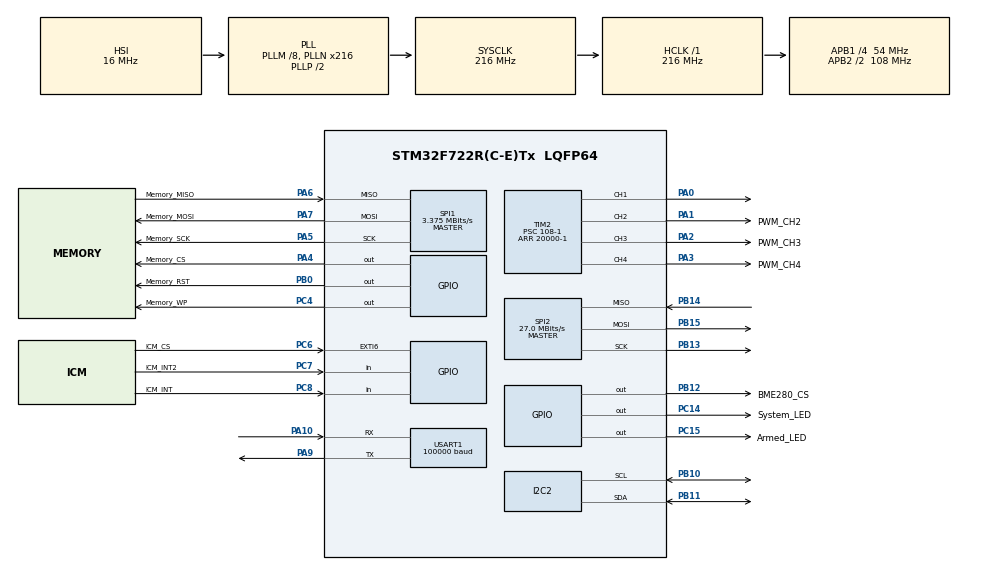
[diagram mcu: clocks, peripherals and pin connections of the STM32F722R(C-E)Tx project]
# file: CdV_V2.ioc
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CORTEX_M7.default_mode_Activation=1
FREERTOS.Mutexes01=MemoryMutex,Dynamic,NULL,Available
FREERTOS.Queues01=System_Queue,16,System_Notification_t,0,Dynamic,NULL,NULL;Actuator_Queue,8,Actuator_Request_t,0,Dynamic,NULL,NULL;Memory_writeQueue,6,Memory_Write_t,0,Dynamic,NULL,NULL;Memory_readQueue,6,Memory_Read_t,0,Dynamic,NULL,NULL;Memory_requestQueue,6,Memory_ReadRequest_t,0,Dynamic,NULL,NULL;Config_Request,4,uint8_t,0,Dynamic,NULL,NULL
FREERTOS.Tasks01=MissionManager,40,256,StartMissionManager,Default,NULL,Static,MissionManagerBuffer,MissionManagerControlBlock;ActuatorsTask,40,256,StartActuatorsTask,Default,NULL,Static,ActuatorsTaskBuffer,ActuatorsTaskControlBlock;MemoryTask,8,256,StartMemoryTask,Default,NULL,Static,MemoryTaskBuffer,MemoryTaskControlBlock;InitializerTask,8,256,StartInitializerTask,Default,NULL,Static,InitializerTaskBuffer,InitializerTaskControlBlock;CommandInterfac,8,256,StartCommandInterfaceTask,Default,NULL,Static,CommandInterfacBuffer,CommandInterfacControlBlock;ConfigTask,8,512,StartConfigTask,Default,NULL,Static,ConfigTaskBuffer,ConfigTaskControlBlock;INSTask,8,256,StartINSTask,Default,NULL,Static,INSTaskBuffer,INSTaskControlBlock;BlackboxTask,8,256,StartBlackboxTask,Default,NULL,Static,BlackboxTaskBuffer,BlackboxTaskControlBlock;FaultTask,8,256,StartFaultTask,Default,NULL,Static,FaultTaskBuffer,FaultTaskControlBlock
FREERTOS.Timers01=DeployParachuteTimer,DeployParachuteFunction,osTimerOnce,Default,NULL,Dynamic,NULL;ParachuteDeploymentPulse,DisableDeplymentOutputs,osTimerOnce,Default,NULL,Dynamic,NULL
FREERTOS.configGENERATE_RUN_TIME_STATS=1
FREERTOS.configTOTAL_HEAP_SIZE=5000
FREERTOS.configUSE_STATS_FORMATTING_FUNCTIONS=1
I2C2.Timing=0x20404768
Mcu.Family=STM32F7
Mcu.Name=STM32F722R(C-E)Tx
Mcu.Package=LQFP64
NVIC.PriorityGroup=NVIC_PRIORITYGROUP_4
NVIC.TIM1_UP_TIM10_IRQn=true\:15\:0\:false\:false\:true\:false\:false\:true\:true
NVIC.TimeBase=TIM1_UP_TIM10_IRQn
NVIC.TimeBaseIP=TIM10
PA0-WKUP.Signal=S_TIM2_CH1_ETR
PA1.GPIO_Label=PWM_CH2
PA1.Signal=S_TIM2_CH2
PA10.Mode=Asynchronous
PA10.Signal=USART1_RX
PA13.Mode=Serial_Wire
PA13.Signal=SYS_JTMS-SWDIO
PA14.Mode=Serial_Wire
PA14.Signal=SYS_JTCK-SWCLK
PA2.GPIO_Label=PWM_CH3
PA2.Signal=S_TIM2_CH3
PA3.GPIO_Label=PWM_CH4
PA3.Signal=S_TIM2_CH4
PA4.GPIO_Label=Memory_CS
PA4.Signal=GPIO_Output
PA5.GPIO_Label=Memory_SCK
PA5.Mode=Full_Duplex_Master
PA5.Signal=SPI1_SCK
PA6.GPIO_Label=Memory_MISO
PA6.Mode=Full_Duplex_Master
PA6.Signal=SPI1_MISO
PA7.GPIO_Label=Memory_MOSI
PA7.Mode=Full_Duplex_Master
PA7.Signal=SPI1_MOSI
PA9.Mode=Asynchronous
PA9.Signal=USART1_TX
PB0.GPIO_Label=Memory_RST
PB0.Signal=GPIO_Output
PB10.Mode=I2C
PB10.Signal=I2C2_SCL
PB11.Mode=I2C
PB11.Signal=I2C2_SDA
PB12.GPIO_Label=BME280_CS
PB12.Signal=GPIO_Output
PB13.Mode=Full_Duplex_Master
PB13.Signal=SPI2_SCK
PB14.Mode=Full_Duplex_Master
PB14.Signal=SPI2_MISO
PB15.Mode=Full_Duplex_Master
PB15.Signal=SPI2_MOSI
PC14-OSC32_IN.GPIO_Label=System_LED
PC14-OSC32_IN.Signal=GPIO_Output
PC15-OSC32_OUT.GPIO_Label=Armed_LED
PC15-OSC32_OUT.Signal=GPIO_Output
PC4.GPIO_Label=Memory_WP
PC4.Signal=GPIO_Output
PC6.GPIO_Label=ICM_CS
PC6.Signal=GPXTI6
PC7.GPIO_Label=ICM_INT2
PC7.Signal=GPIO_Input
PC8.GPIO_Label=ICM_INT
PC8.Signal=GPIO_Input
PH0-OSC_IN.Mode=HSE-External-Oscillator
PH0-OSC_IN.Signal=RCC_OSC_IN
PH1-OSC_OUT.Mode=HSE-External-Oscillator
PH1-OSC_OUT.Signal=RCC_OSC_OUT
ProjectManager.HeapSize=0x200
ProjectManager.StackSize=0x400
ProjectManager.TargetToolchain=STM32CubeIDE
RCC.AHBFreq_Value=216000000
RCC.APB1CLKDivider=RCC_HCLK_DIV4
RCC.APB1Freq_Value=54000000
RCC.APB1TimFreq_Value=108000000
RCC.APB2CLKDivider=RCC_HCLK_DIV2
RCC.APB2Freq_Value=108000000
RCC.APB2TimFreq_Value=216000000
RCC.CortexFreq_Value=216000000
RCC.HCLKFreq_Value=216000000
RCC.HSE_VALUE=25000000
RCC.HSI_VALUE=16000000
RCC.LSE_VALUE=32768
RCC.PLLM=8
RCC.PLLN=216
RCC.SYSCLKFreq_VALUE=216000000
RCC.SYSCLKSource=RCC_SYSCLKSOURCE_PLLCLK
RCC.USBFreq_Value=216000000
RCC.VCOOutputFreq_Value=432000000
SH.S_TIM2_CH1_ETR.0=TIM2_CH1,PWM Generation1 CH1
SH.S_TIM2_CH2.0=TIM2_CH2,PWM Generation2 CH2
SH.S_TIM2_CH3.0=TIM2_CH3,PWM Generation3 CH3
SH.S_TIM2_CH4.0=TIM2_CH4,PWM Generation4 CH4
SPI1.BaudRatePrescaler=SPI_BAUDRATEPRESCALER_32
SPI1.CalculateBaudRate=3.375 MBits/s
SPI1.DataSize=SPI_DATASIZE_8BIT
SPI1.Direction=SPI_DIRECTION_2LINES
SPI1.Mode=SPI_MODE_MASTER
SPI1.VirtualType=VM_MASTER
SPI2.CalculateBaudRate=27.0 MBits/s
SPI2.DataSize=SPI_DATASIZE_8BIT
SPI2.Direction=SPI_DIRECTION_2LINES
SPI2.Mode=SPI_MODE_MASTER
SPI2.VirtualType=VM_MASTER
TIM2.Channel-PWM\ Generation1\ CH1=TIM_CHANNEL_1
TIM2.Channel-PWM\ Generation2\ CH2=TIM_CHANNEL_2
TIM2.Channel-PWM\ Generation3\ CH3=TIM_CHANNEL_3
TIM2.Channel-PWM\ Generation4\ CH4=TIM_CHANNEL_4
TIM2.Period=20000-1
TIM2.Prescaler=108-1
USART1.BaudRate=100000
USART1.Parity=PARITY_EVEN
USART1.StopBits=STOPBITS_2
USART1.VirtualMode-Asynchronous=VM_ASYNC
USART1.WordLength=WORDLENGTH_9B
VP_FREERTOS_VS_CMSIS_V2.Mode=CMSIS_V2
VP_SYS_VS_tim10.Mode=TIM10
board=custom

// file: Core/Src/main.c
/* USER CODE BEGIN Header */
/**
  ******************************************************************************
  * @file           : main.c
  * @brief          : Main program body
  ******************************************************************************
  * @attention
  *
  * Copyright (c) 2026 STMicroelectronics.
  * All rights reserved.
  *
  * This software is licensed under terms that can be found in the LICENSE file
  * in the root directory of this software component.
  * If no LICENSE file comes with this software, it is provided AS-IS.
  *
  ******************************************************************************
  */
/* USER CODE END Header */
#include "main.h"
#include "cmsis_os.h"
#include "i2c.h"
#include "spi.h"
#include "tim.h"
#include "usart.h"
#include "gpio.h"

void SystemClock_Config(void);
static void MPU_Config(void);
void MX_FREERTOS_Init(void);

int main(void)
{

  /* MPU Configuration--------------------------------------------------------*/
  MPU_Config();

  /* MCU Configuration--------------------------------------------------------*/

  /* Reset of all peripherals, Initializes the Flash interface and the Systick. */
  HAL_Init();

  /* Configure the system clock */
  SystemClock_Config();

  /* Initialize all configured peripherals */
  MX_GPIO_Init();
  MX_SPI1_Init();
  MX_TIM2_Init();
  MX_SPI2_Init();
  MX_I2C2_Init();
  MX_USART1_UART_Init();

  /* Init scheduler */
  osKernelInitialize();  /* Call init function for freertos objects (in cmsis_os2.c) */
  MX_FREERTOS_Init();

  /* Start scheduler */
  osKernelStart();

  /* We should never get here as control is now taken by the scheduler */

  /* Infinite loop */
  while (1)
  {

  }
}

void SystemClock_Config(void)
{
  RCC_OscInitTypeDef RCC_OscInitStruct = {0};
  RCC_ClkInitTypeDef RCC_ClkInitStruct = {0};

  /** Configure the main internal regulator output voltage
  */
  __HAL_RCC_PWR_CLK_ENABLE();
  __HAL_PWR_VOLTAGESCALING_CONFIG(PWR_REGULATOR_VOLTAGE_SCALE1);

  /** Initializes the RCC Oscillators according to the specified parameters
  * in the RCC_OscInitTypeDef structure.
  */
  RCC_OscInitStruct.OscillatorType = RCC_OSCILLATORTYPE_HSI;
  RCC_OscInitStruct.HSIState = RCC_HSI_ON;
  RCC_OscInitStruct.HSICalibrationValue = RCC_HSICALIBRATION_DEFAULT;
  RCC_OscInitStruct.PLL.PLLState = RCC_PLL_ON;
  RCC_OscInitStruct.PLL.PLLSource = RCC_PLLSOURCE_HSI;
  RCC_OscInitStruct.PLL.PLLM = 8;
  RCC_OscInitStruct.PLL.PLLN = 216;
  RCC_OscInitStruct.PLL.PLLP = RCC_PLLP_DIV2;
  RCC_OscInitStruct.PLL.PLLQ = 2;
  if (HAL_RCC_OscConfig(&RCC_OscInitStruct) != HAL_OK)
  {
    Error_Handler();
  }

  /** Activate the Over-Drive mode
  */
  if (HAL_PWREx_EnableOverDrive() != HAL_OK)
  {
    Error_Handler();
  }

  /** Initializes the CPU, AHB and APB buses clocks
  */
  RCC_ClkInitStruct.ClockType = RCC_CLOCKTYPE_HCLK|RCC_CLOCKTYPE_SYSCLK
                              |RCC_CLOCKTYPE_PCLK1|RCC_CLOCKTYPE_PCLK2;
  RCC_ClkInitStruct.SYSCLKSource = RCC_SYSCLKSOURCE_PLLCLK;
  RCC_ClkInitStruct.AHBCLKDivider = RCC_SYSCLK_DIV1;
  RCC_ClkInitStruct.APB1CLKDivider = RCC_HCLK_DIV4;
  RCC_ClkInitStruct.APB2CLKDivider = RCC_HCLK_DIV2;

  if (HAL_RCC_ClockConfig(&RCC_ClkInitStruct, FLASH_LATENCY_7) != HAL_OK)
  {
    Error_Handler();
  }
}

 /* MPU Configuration */

void MPU_Config(void)
{
  MPU_Region_InitTypeDef MPU_InitStruct = {0};

  /* Disables the MPU */
  HAL_MPU_Disable();

  /** Initializes and configures the Region and the memory to be protected
  */
  MPU_InitStruct.Enable = MPU_REGION_ENABLE;
  MPU_InitStruct.Number = MPU_REGION_NUMBER0;
  MPU_InitStruct.BaseAddress = 0x0;
  MPU_InitStruct.Size = MPU_REGION_SIZE_4GB;
  MPU_InitStruct.SubRegionDisable = 0x87;
  MPU_InitStruct.TypeExtField = MPU_TEX_LEVEL0;
  MPU_InitStruct.AccessPermission = MPU_REGION_NO_ACCESS;
  MPU_InitStruct.DisableExec = MPU_INSTRUCTION_ACCESS_DISABLE;
  MPU_InitStruct.IsShareable = MPU_ACCESS_SHAREABLE;
  MPU_InitStruct.IsCacheable = MPU_ACCESS_NOT_CACHEABLE;
  MPU_InitStruct.IsBufferable = MPU_ACCESS_NOT_BUFFERABLE;

  HAL_MPU_ConfigRegion(&MPU_InitStruct);
  /* Enables the MPU */
  HAL_MPU_Enable(MPU_PRIVILEGED_DEFAULT);

}

void HAL_TIM_PeriodElapsedCallback(TIM_HandleTypeDef *htim)
{
  if (htim->Instance == TIM10)
  {
    HAL_IncTick();
  }
}

void Error_Handler(void)
{
  __disable_irq();
  while (1)
  {
  }
}

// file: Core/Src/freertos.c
/* USER CODE BEGIN Header */
/**
  ******************************************************************************
  * File Name          : freertos.c
  * Description        : Code for freertos applications
  ******************************************************************************
  * @attention
  *
  * Copyright (c) 2026 STMicroelectronics.
  * All rights reserved.
  *
  * This software is licensed under terms that can be found in the LICENSE file
  * in the root directory of this software component.
  * If no LICENSE file comes with this software, it is provided AS-IS.
  *
  ******************************************************************************
  */
/* USER CODE END Header */

#include "FreeRTOS.h"
#include "task.h"
#include "main.h"
#include "cmsis_os.h"

/* USER CODE BEGIN Includes */
#include "System/System.h"
#include "Tasks/MissionManager/MissionManager.h"
#include "Tasks/Actuators/Actuators.h"
#include "Tasks/Memory/Memory.h"
#include "Tasks/Config/Config.h"
#include "Tasks/Initializer/Initializer.h"
#include "Tasks/INS/INS.h"
/* USER CODE END Includes */

typedef StaticTask_t osStaticThreadDef_t;

/* Definitions for MissionManager */
osThreadId_t MissionManagerHandle;
uint32_t MissionManagerBuffer[ 256 ];
osStaticThreadDef_t MissionManagerControlBlock;
const osThreadAttr_t MissionManager_attributes = {
  .name = "MissionManager",
  .cb_mem = &MissionManagerControlBlock,
  .cb_size = sizeof(MissionManagerControlBlock),
  .stack_mem = &MissionManagerBuffer[0],
  .stack_size = sizeof(MissionManagerBuffer),
  .priority = (osPriority_t) osPriorityHigh,
};
/* Definitions for ActuatorsTask */
osThreadId_t ActuatorsTaskHandle;
uint32_t ActuatorsTaskBuffer[ 256 ];
osStaticThreadDef_t ActuatorsTaskControlBlock;
const osThreadAttr_t ActuatorsTask_attributes = {
  .name = "ActuatorsTask",
  .cb_mem = &ActuatorsTaskControlBlock,
  .cb_size = sizeof(ActuatorsTaskControlBlock),
  .stack_mem = &ActuatorsTaskBuffer[0],
  .stack_size = sizeof(ActuatorsTaskBuffer),
  .priority = (osPriority_t) osPriorityHigh,
};
/* Definitions for MemoryTask */
osThreadId_t MemoryTaskHandle;
uint32_t MemoryTaskBuffer[ 256 ];
osStaticThreadDef_t MemoryTaskControlBlock;
const osThreadAttr_t MemoryTask_attributes = {
  .name = "MemoryTask",
  .cb_mem = &MemoryTaskControlBlock,
  .cb_size = sizeof(MemoryTaskControlBlock),
  .stack_mem = &MemoryTaskBuffer[0],
  .stack_size = sizeof(MemoryTaskBuffer),
  .priority = (osPriority_t) osPriorityLow,
};
/* Definitions for InitializerTask */
osThreadId_t InitializerTaskHandle;
uint32_t InitializerTaskBuffer[ 256 ];
osStaticThreadDef_t InitializerTaskControlBlock;
const osThreadAttr_t InitializerTask_attributes = {
  .name = "InitializerTask",
  .cb_mem = &InitializerTaskControlBlock,
  .cb_size = sizeof(InitializerTaskControlBlock),
  .stack_mem = &InitializerTaskBuffer[0],
  .stack_size = sizeof(InitializerTaskBuffer),
  .priority = (osPriority_t) osPriorityLow,
};
/* Definitions for CommandInterfac */
osThreadId_t CommandInterfacHandle;
uint32_t CommandInterfacBuffer[ 256 ];
osStaticThreadDef_t CommandInterfacControlBlock;
const osThreadAttr_t CommandInterfac_attributes = {
  .name = "CommandInterfac",
  .cb_mem = &CommandInterfacControlBlock,
  .cb_size = sizeof(CommandInterfacControlBlock),
  .stack_mem = &CommandInterfacBuffer[0],
  .stack_size = sizeof(CommandInterfacBuffer),
  .priority = (osPriority_t) osPriorityLow,
};
/* Definitions for ConfigTask */
osThreadId_t ConfigTaskHandle;
uint32_t ConfigTaskBuffer[ 512 ];
osStaticThreadDef_t ConfigTaskControlBlock;
const osThreadAttr_t ConfigTask_attributes = {
  .name = "ConfigTask",
  .cb_mem = &ConfigTaskControlBlock,
  .cb_size = sizeof(ConfigTaskControlBlock),
  .stack_mem = &ConfigTaskBuffer[0],
  .stack_size = sizeof(ConfigTaskBuffer),
  .priority = (osPriority_t) osPriorityLow,
};
/* Definitions for INSTask */
osThreadId_t INSTaskHandle;
uint32_t INSTaskBuffer[ 256 ];
osStaticThreadDef_t INSTaskControlBlock;
const osThreadAttr_t INSTask_attributes = {
  .name = "INSTask",
  .cb_mem = &INSTaskControlBlock,
  .cb_size = sizeof(INSTaskControlBlock),
  .stack_mem = &INSTaskBuffer[0],
  .stack_size = sizeof(INSTaskBuffer),
  .priority = (osPriority_t) osPriorityLow,
};
/* Definitions for BlackboxTask */
osThreadId_t BlackboxTaskHandle;
uint32_t BlackboxTaskBuffer[ 256 ];
osStaticThreadDef_t BlackboxTaskControlBlock;
const osThreadAttr_t BlackboxTask_attributes = {
  .name = "BlackboxTask",
  .cb_mem = &BlackboxTaskControlBlock,
  .cb_size = sizeof(BlackboxTaskControlBlock),
  .stack_mem = &BlackboxTaskBuffer[0],
  .stack_size = sizeof(BlackboxTaskBuffer),
  .priority = (osPriority_t) osPriorityLow,
};
/* Definitions for FaultTask */
osThreadId_t FaultTaskHandle;
uint32_t FaultTaskBuffer[ 256 ];
osStaticThreadDef_t FaultTaskControlBlock;
const osThreadAttr_t FaultTask_attributes = {
  .name = "FaultTask",
  .cb_mem = &FaultTaskControlBlock,
  .cb_size = sizeof(FaultTaskControlBlock),
  .stack_mem = &FaultTaskBuffer[0],
  .stack_size = sizeof(FaultTaskBuffer),
  .priority = (osPriority_t) osPriorityLow,
};
/* Definitions for System_Queue */
osMessageQueueId_t System_QueueHandle;
const osMessageQueueAttr_t System_Queue_attributes = {
  .name = "System_Queue"
};
/* Definitions for Actuator_Queue */
osMessageQueueId_t Actuator_QueueHandle;
const osMessageQueueAttr_t Actuator_Queue_attributes = {
  .name = "Actuator_Queue"
};
/* Definitions for Memory_writeQueue */
osMessageQueueId_t Memory_writeQueueHandle;
const osMessageQueueAttr_t Memory_writeQueue_attributes = {
  .name = "Memory_writeQueue"
};
/* Definitions for Memory_readQueue */
osMessageQueueId_t Memory_readQueueHandle;
const osMessageQueueAttr_t Memory_readQueue_attributes = {
  .name = "Memory_readQueue"
};
/* Definitions for Memory_requestQueue */
osMessageQueueId_t Memory_requestQueueHandle;
const osMessageQueueAttr_t Memory_requestQueue_attributes = {
  .name = "Memory_requestQueue"
};
/* Definitions for Config_Request */
osMessageQueueId_t Config_RequestHandle;
const osMessageQueueAttr_t Config_Request_attributes = {
  .name = "Config_Request"
};
/* Definitions for DeployParachuteTimer */
osTimerId_t DeployParachuteTimerHandle;
const osTimerAttr_t DeployParachuteTimer_attributes = {
  .name = "DeployParachuteTimer"
};
/* Definitions for ParachuteDeploymentPulse */
osTimerId_t ParachuteDeploymentPulseHandle;
const osTimerAttr_t ParachuteDeploymentPulse_attributes = {
  .name = "ParachuteDeploymentPulse"
};
/* Definitions for MemoryMutex */
osMutexId_t MemoryMutexHandle;
const osMutexAttr_t MemoryMutex_attributes = {
  .name = "MemoryMutex"
};

void StartMissionManager(void *argument);
void StartActuatorsTask(void *argument);
void StartMemoryTask(void *argument);
void StartInitializerTask(void *argument);
void StartCommandInterfaceTask(void *argument);
void StartConfigTask(void *argument);
void StartINSTask(void *argument);
void StartBlackboxTask(void *argument);
void StartFaultTask(void *argument);
void DeployParachuteFunction(void *argument);
void DisableDeplymentOutputs(void *argument);

void MX_FREERTOS_Init(void); /* (MISRA C 2004 rule 8.1) */

/* Hook prototypes */
void configureTimerForRunTimeStats(void);
unsigned long getRunTimeCounterValue(void);

/* USER CODE BEGIN 1 */
/* Functions needed when configGENERATE_RUN_TIME_STATS is on */
__weak void configureTimerForRunTimeStats(void)
{

}

__weak unsigned long getRunTimeCounterValue(void)
{
return 0;
}
/* USER CODE END 1 */

void MX_FREERTOS_Init(void) {
  /* Create the mutex(es) */
  /* creation of MemoryMutex */
  MemoryMutexHandle = osMutexNew(&MemoryMutex_attributes);

  /* Create the timer(s) */
  /* creation of DeployParachuteTimer */
  DeployParachuteTimerHandle = osTimerNew(DeployParachuteFunction, osTimerOnce, NULL, &DeployParachuteTimer_attributes);

  /* creation of ParachuteDeploymentPulse */
  ParachuteDeploymentPulseHandle = osTimerNew(DisableDeplymentOutputs, osTimerOnce, NULL, &ParachuteDeploymentPulse_attributes);

  /* Create the queue(s) */
  /* creation of System_Queue */
  System_QueueHandle = osMessageQueueNew (16, sizeof(System_Notification_t), &System_Queue_attributes);

  /* creation of Actuator_Queue */
  Actuator_QueueHandle = osMessageQueueNew (8, sizeof(Actuator_Request_t), &Actuator_Queue_attributes);

  /* creation of Memory_writeQueue */
  Memory_writeQueueHandle = osMessageQueueNew (6, sizeof(Memory_Write_t), &Memory_writeQueue_attributes);

  /* creation of Memory_readQueue */
  Memory_readQueueHandle = osMessageQueueNew (6, sizeof(Memory_Read_t), &Memory_readQueue_attributes);

  /* creation of Memory_requestQueue */
  Memory_requestQueueHandle = osMessageQueueNew (6, sizeof(Memory_ReadRequest_t), &Memory_requestQueue_attributes);

  /* creation of Config_Request */
  Config_RequestHandle = osMessageQueueNew (4, sizeof(uint8_t), &Config_Request_attributes);

  /* Create the thread(s) */
  /* creation of MissionManager */
  MissionManagerHandle = osThreadNew(StartMissionManager, NULL, &MissionManager_attributes);

  /* creation of ActuatorsTask */
  ActuatorsTaskHandle = osThreadNew(StartActuatorsTask, NULL, &ActuatorsTask_attributes);

  /* creation of MemoryTask */
  MemoryTaskHandle = osThreadNew(StartMemoryTask, NULL, &MemoryTask_attributes);

  /* creation of InitializerTask */
  InitializerTaskHandle = osThreadNew(StartInitializerTask, NULL, &InitializerTask_attributes);

  /* creation of CommandInterfac */
  CommandInterfacHandle = osThreadNew(StartCommandInterfaceTask, NULL, &CommandInterfac_attributes);

  /* creation of ConfigTask */
  ConfigTaskHandle = osThreadNew(StartConfigTask, NULL, &ConfigTask_attributes);

  /* creation of INSTask */
  INSTaskHandle = osThreadNew(StartINSTask, NULL, &INSTask_attributes);

  /* creation of BlackboxTask */
  BlackboxTaskHandle = osThreadNew(StartBlackboxTask, NULL, &BlackboxTask_attributes);

  /* creation of FaultTask */
  FaultTaskHandle = osThreadNew(StartFaultTask, NULL, &FaultTask_attributes);

}

void StartMissionManager(void *argument)
{
  /* USER CODE BEGIN StartMissionManager */
  /* Infinite loop */
  for(;;)
  {

	MissionManager_Task();
    osDelay(20);
  }
  /* USER CODE END StartMissionManager */
}

void StartActuatorsTask(void *argument)
{
  /* USER CODE BEGIN StartActuatorsTask */
  /* Infinite loop */
  for(;;)
  {
	Actuators_Task();
    osDelay(5);
  }
  /* USER CODE END StartActuatorsTask */
}

void StartMemoryTask(void *argument)
{
  /* USER CODE BEGIN StartMemoryTask */
  /* Infinite loop */
  for(;;)
  {
	Memory_Task();
    osDelay(5);
  }
  /* USER CODE END StartMemoryTask */
}

void StartInitializerTask(void *argument)
{
  /* USER CODE BEGIN StartInitializerTask */
  /* Infinite loop */
  for(;;)
  {
	Initializer_Task();
    osDelay(100);
  }
  /* USER CODE END StartInitializerTask */
}

void StartCommandInterfaceTask(void *argument)
{
  /* USER CODE BEGIN StartCommandInterfaceTask */
  /* Infinite loop */
  for(;;)
  {
    osDelay(200);
  }
  /* USER CODE END StartCommandInterfaceTask */
}

void StartConfigTask(void *argument)
{
  /* USER CODE BEGIN StartConfigTask */
  /* Infinite loop */
  for(;;)
  {
	Config_Task();
    osDelay(200);
  }
  /* USER CODE END StartConfigTask */
}

void StartINSTask(void *argument)
{
  /* USER CODE BEGIN StartINSTask */
  /* Infinite loop */
  for(;;)
  {
	INS_Task();
    osDelay(1);
  }
  /* USER CODE END StartINSTask */
}

void StartBlackboxTask(void *argument)
{
  /* USER CODE BEGIN StartBlackboxTask */
  /* Infinite loop */
  for(;;)
  {
    osDelay(10);
  }
  /* USER CODE END StartBlackboxTask */
}

void StartFaultTask(void *argument)
{
  /* USER CODE BEGIN StartFaultTask */
  /* Infinite loop */
  for(;;)
  {
    osDelay(1000);
  }
  /* USER CODE END StartFaultTask */
}

/* DeployParachuteFunction function */
void DeployParachuteFunction(void *argument)
{
}

/* DisableDeplymentOutputs function */
void DisableDeplymentOutputs(void *argument)
{
}
